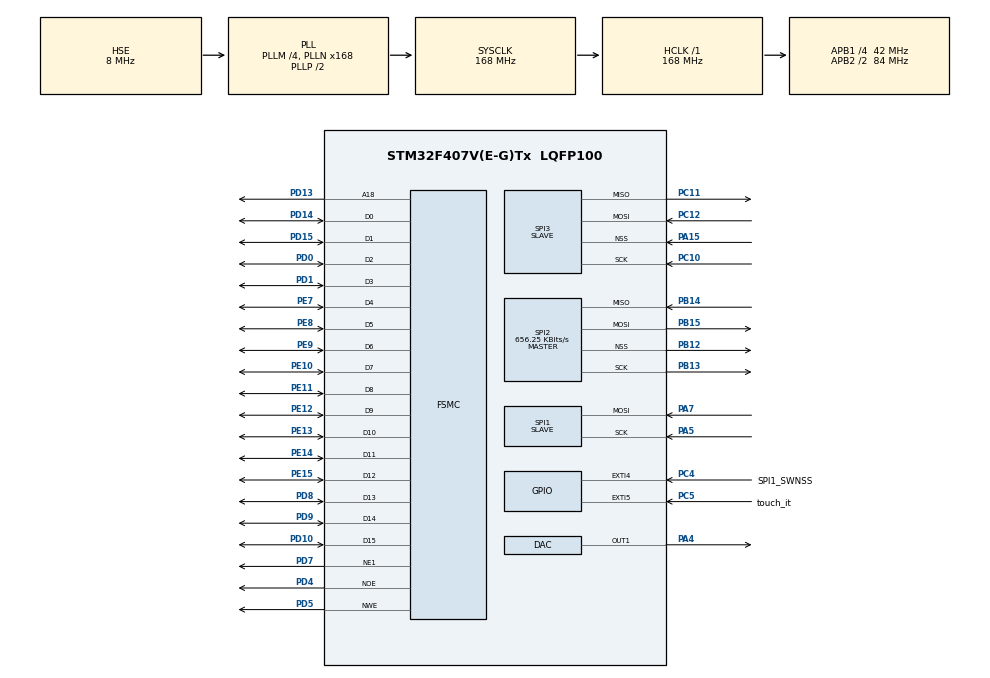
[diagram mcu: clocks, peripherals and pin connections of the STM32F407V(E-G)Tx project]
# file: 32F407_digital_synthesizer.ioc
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DAC.DAC_Trigger=DAC_TRIGGER_T6_TRGO
DAC.WaveGeneration=DISABLE
Dma.DAC1.0.Direction=DMA_MEMORY_TO_PERIPH
Dma.DAC1.0.FIFOMode=DMA_FIFOMODE_DISABLE
Dma.DAC1.0.Instance=DMA1_Stream5
Dma.DAC1.0.MemDataAlignment=DMA_MDATAALIGN_HALFWORD
Dma.DAC1.0.MemInc=DMA_MINC_ENABLE
Dma.DAC1.0.Mode=DMA_CIRCULAR
Dma.DAC1.0.PeriphDataAlignment=DMA_PDATAALIGN_HALFWORD
Dma.DAC1.0.PeriphInc=DMA_PINC_DISABLE
Dma.DAC1.0.Priority=DMA_PRIORITY_HIGH
Dma.MEMTOMEM.2.Direction=DMA_MEMORY_TO_MEMORY
Dma.MEMTOMEM.2.FIFOMode=DMA_FIFOMODE_ENABLE
Dma.MEMTOMEM.2.FIFOThreshold=DMA_FIFO_THRESHOLD_FULL
Dma.MEMTOMEM.2.Instance=DMA2_Stream0
Dma.MEMTOMEM.2.MemBurst=DMA_MBURST_SINGLE
Dma.MEMTOMEM.2.MemDataAlignment=DMA_MDATAALIGN_BYTE
Dma.MEMTOMEM.2.MemInc=DMA_MINC_DISABLE
Dma.MEMTOMEM.2.Mode=DMA_NORMAL
Dma.MEMTOMEM.2.PeriphBurst=DMA_PBURST_SINGLE
Dma.MEMTOMEM.2.PeriphDataAlignment=DMA_PDATAALIGN_BYTE
Dma.MEMTOMEM.2.PeriphInc=DMA_PINC_ENABLE
Dma.MEMTOMEM.2.Priority=DMA_PRIORITY_MEDIUM
Dma.Request0=DAC1
Dma.Request1=SPI3_RX
Dma.Request2=MEMTOMEM
Dma.Request3=SPI1_RX
Dma.SPI1_RX.3.Direction=DMA_PERIPH_TO_MEMORY
Dma.SPI1_RX.3.FIFOMode=DMA_FIFOMODE_DISABLE
Dma.SPI1_RX.3.Instance=DMA2_Stream2
Dma.SPI1_RX.3.MemDataAlignment=DMA_MDATAALIGN_BYTE
Dma.SPI1_RX.3.MemInc=DMA_MINC_ENABLE
Dma.SPI1_RX.3.Mode=DMA_NORMAL
Dma.SPI1_RX.3.PeriphDataAlignment=DMA_PDATAALIGN_BYTE
Dma.SPI1_RX.3.PeriphInc=DMA_PINC_DISABLE
Dma.SPI1_RX.3.Priority=DMA_PRIORITY_LOW
Dma.SPI3_RX.1.Direction=DMA_PERIPH_TO_MEMORY
Dma.SPI3_RX.1.FIFOMode=DMA_FIFOMODE_DISABLE
Dma.SPI3_RX.1.Instance=DMA1_Stream0
Dma.SPI3_RX.1.MemDataAlignment=DMA_MDATAALIGN_BYTE
Dma.SPI3_RX.1.MemInc=DMA_MINC_ENABLE
Dma.SPI3_RX.1.Mode=DMA_NORMAL
Dma.SPI3_RX.1.PeriphDataAlignment=DMA_PDATAALIGN_BYTE
Dma.SPI3_RX.1.PeriphInc=DMA_PINC_DISABLE
Dma.SPI3_RX.1.Priority=DMA_PRIORITY_LOW
FSMC.AddressSetupTime1=6
FSMC.BusTurnAroundDuration1=0
FSMC.DataSetupTime1=6
Mcu.Family=STM32F4
Mcu.Name=STM32F407V(E-G)Tx
Mcu.Package=LQFP100
NVIC.DMA1_Stream0_IRQn=true\:0\:0\:false\:false\:true\:false\:true\:true
NVIC.DMA1_Stream5_IRQn=true\:0\:0\:false\:false\:true\:false\:true\:true
NVIC.DMA2_Stream2_IRQn=true\:0\:0\:false\:false\:true\:false\:true\:true
NVIC.EXTI4_IRQn=true\:0\:0\:false\:false\:true\:true\:true\:true
NVIC.EXTI9_5_IRQn=true\:0\:0\:false\:false\:true\:true\:true\:true
NVIC.PriorityGroup=NVIC_PRIORITYGROUP_4
NVIC.SPI1_IRQn=true\:0\:0\:false\:false\:true\:true\:true\:true
NVIC.SPI2_IRQn=true\:0\:0\:false\:false\:true\:true\:true\:true
NVIC.SPI3_IRQn=true\:0\:0\:false\:false\:true\:true\:true\:true
PA15.Mode=NSS_Signal_Hard_Input
PA15.Signal=SPI3_NSS
PA4.Signal=COMP_DAC1_group
PA5.Mode=RX_Only_Simplex_Unidirect_Slave
PA5.Signal=SPI1_SCK
PA7.Mode=RX_Only_Simplex_Unidirect_Slave
PA7.Signal=SPI1_MOSI
PB12.Mode=NSS_Signal_Hard_Output
PB12.Signal=SPI2_NSS
PB13.Mode=Full_Duplex_Master
PB13.Signal=SPI2_SCK
PB14.Mode=Full_Duplex_Master
PB14.Signal=SPI2_MISO
PB15.Mode=Full_Duplex_Master
PB15.Signal=SPI2_MOSI
PC10.Mode=Full_Duplex_Slave
PC10.Signal=SPI3_SCK
PC11.Mode=Full_Duplex_Slave
PC11.Signal=SPI3_MISO
PC12.Mode=Full_Duplex_Slave
PC12.Signal=SPI3_MOSI
PC4.GPIO_Label=SPI1_SWNSS
PC4.GPIO_ModeDefaultEXTI=GPIO_MODE_IT_FALLING
PC4.GPIO_PuPd=GPIO_PULLUP
PC4.Signal=GPXTI4
PC5.GPIO_Label=touch_it
PC5.GPIO_ModeDefaultEXTI=GPIO_MODE_IT_FALLING
PC5.GPIO_PuPd=GPIO_PULLUP
PC5.Signal=GPXTI5
PD0.Mode=16b-d1
PD0.Signal=FSMC_D2
PD1.Mode=16b-d1
PD1.Signal=FSMC_D3
PD10.Mode=16b-d1
PD10.Signal=FSMC_D15
PD13.Mode=A18_1
PD13.Signal=FSMC_A18
PD14.Mode=16b-d1
PD14.Signal=FSMC_D0
PD15.Mode=16b-d1
PD15.Signal=FSMC_D1
PD4.Mode=Lcd1
PD4.Signal=FSMC_NOE
PD5.Mode=Lcd1
PD5.Signal=FSMC_NWE
PD7.Mode=NorPsramChipSelect1_1
PD7.Signal=FSMC_NE1
PD8.Mode=16b-d1
PD8.Signal=FSMC_D13
PD9.Mode=16b-d1
PD9.Signal=FSMC_D14
PE10.Mode=16b-d1
PE10.Signal=FSMC_D7
PE11.Mode=16b-d1
PE11.Signal=FSMC_D8
PE12.Mode=16b-d1
PE12.Signal=FSMC_D9
PE13.Mode=16b-d1
PE13.Signal=FSMC_D10
PE14.Mode=16b-d1
PE14.Signal=FSMC_D11
PE15.Mode=16b-d1
PE15.Signal=FSMC_D12
PE7.Mode=16b-d1
PE7.Signal=FSMC_D4
PE8.Mode=16b-d1
PE8.Signal=FSMC_D5
PE9.Mode=16b-d1
PE9.Signal=FSMC_D6
PH0-OSC_IN.Mode=HSE-External-Oscillator
PH0-OSC_IN.Signal=RCC_OSC_IN
PH1-OSC_OUT.Mode=HSE-External-Oscillator
PH1-OSC_OUT.Signal=RCC_OSC_OUT
ProjectManager.HeapSize=0x200
ProjectManager.StackSize=0x400
ProjectManager.TargetToolchain=STM32CubeIDE
RCC.48MHZClocksFreq_Value=48000000
RCC.AHBFreq_Value=168000000
RCC.APB1CLKDivider=RCC_HCLK_DIV4
RCC.APB1Freq_Value=42000000
RCC.APB1TimFreq_Value=84000000
RCC.APB2CLKDivider=RCC_HCLK_DIV2
RCC.APB2Freq_Value=84000000
RCC.APB2TimFreq_Value=168000000
RCC.CortexFreq_Value=168000000
RCC.HCLKFreq_Value=168000000
RCC.HSE_VALUE=8000000
RCC.HSI_VALUE=16000000
RCC.LSE_VALUE=32768
RCC.PLLM=4
RCC.PLLN=168
RCC.PLLQ=7
RCC.PLLSourceVirtual=RCC_PLLSOURCE_HSE
RCC.SYSCLKFreq_VALUE=168000000
RCC.SYSCLKSource=RCC_SYSCLKSOURCE_PLLCLK
RCC.VCOOutputFreq_Value=336000000
SH.COMP_DAC1_group.0=DAC_OUT1,DAC_OUT1
SPI1.Direction=SPI_DIRECTION_2LINES_RXONLY
SPI1.Mode=SPI_MODE_SLAVE
SPI1.VirtualType=VM_SLAVE
SPI2.BaudRatePrescaler=SPI_BAUDRATEPRESCALER_64
SPI2.CLKPhase=SPI_PHASE_1EDGE
SPI2.CLKPolarity=SPI_POLARITY_LOW
SPI2.CalculateBaudRate=656.25 KBits/s
SPI2.DataSize=SPI_DATASIZE_8BIT
SPI2.Direction=SPI_DIRECTION_2LINES
SPI2.Mode=SPI_MODE_MASTER
SPI2.TIMode=SPI_TIMODE_DISABLE
SPI2.VirtualNSS=VM_NSSHARD
SPI2.VirtualType=VM_MASTER
SPI3.Direction=SPI_DIRECTION_2LINES
SPI3.Mode=SPI_MODE_SLAVE
SPI3.VirtualNSS=VM_NSSHARD
SPI3.VirtualType=VM_SLAVE
STMicroelectronics.X-CUBE-ALGOBUILD.1.3.0.LibraryCcDSPOoLibraryJjDSPOoLibrary=true
TIM6.AutoReloadPreload=TIM_AUTORELOAD_PRELOAD_ENABLE
TIM6.Period=20
TIM6.Prescaler=100
TIM6.TIM_MasterOutputTrigger=TIM_TRGO_UPDATE
VP_RNG_VS_RNG.Mode=RNG_Activate
VP_STMicroelectronics.X-CUBE-ALGOBUILD_VS_DSPOoLibraryJjLibrary_1.3.0_1.3.0.Mode=DSPOoLibraryJjLibrary
VP_TIM6_VS_ClockSourceINT.Mode=Enable_Timer
board=custom

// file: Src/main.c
/* USER CODE BEGIN Header */
/**
 ******************************************************************************
 * @file           : main.c
 * @brief          : Main program body
 ******************************************************************************
 * @attention
 *
 * <h2><center>&copy; Copyright (c) 2019 STMicroelectronics.
 * All rights reserved.</center></h2>
 *
 * This software component is licensed by ST under BSD 3-Clause license,
 * the "License"; You may not use this file except in compliance with the
 * License. You may obtain a copy of the License at:
 *                        opensource.org/licenses/BSD-3-Clause
 *
 ******************************************************************************
 */
/* USER CODE END Header */
#include "main.h"

/* USER CODE BEGIN Includes */
#define ARM_MATH_CM4
#include "arm_math.h"

#include <elementary_wave.h>
#include <synthesizer_parameters.h>

#include <FSMC_ILI9341.h>
#include <bitmap.h>
#include <touch_2046.h>
#include <stm32uikit.h>

#include <otakuro_logo.h>
/* USER CODE END Includes */

/* USER CODE BEGIN PTD */
typedef union {
	uint16_t raw;
	struct {
		unsigned int low :8;
		unsigned int high :8;
	} split;
} transmit16;
/* USER CODE END PTD */

/* USER CODE BEGIN PD */
#define XPT2046_MIN_RAW_X 230
#define XPT2046_MAX_RAW_X 3900
#define XPT2046_MIN_RAW_Y 290
#define XPT2046_MAX_RAW_Y 3870

#define COLOR_BACKGROUND 0x00
/* USER CODE END PD */

DAC_HandleTypeDef hdac;
DMA_HandleTypeDef hdma_dac1;

RNG_HandleTypeDef hrng;

SPI_HandleTypeDef hspi1;
SPI_HandleTypeDef hspi2;
SPI_HandleTypeDef hspi3;
DMA_HandleTypeDef hdma_spi1_rx;
DMA_HandleTypeDef hdma_spi3_rx;

TIM_HandleTypeDef htim6;

DMA_HandleTypeDef hdma_memtomem_dma2_stream0;
SRAM_HandleTypeDef hsram1;

/* USER CODE BEGIN PV */
//uint8_t spi_controler_tx[4] = {0};
uint8_t frameBuffer[ILI9341_PIXEL_COUNT] = {0};

uint8_t spi_controler_rx[4];
uint16_t control_value[SIZE_PARAMATER] = { 0 };
uint8_t spiRecieving = 1;

uint8_t touch_it = 0;
/* USER CODE END PV */

void SystemClock_Config(void);
static void MX_GPIO_Init(void);
static void MX_DMA_Init(void);
static void MX_FSMC_Init(void);
static void MX_DAC_Init(void);
static void MX_SPI2_Init(void);
static void MX_SPI3_Init(void);
static void MX_TIM6_Init(void);
static void MX_SPI1_Init(void);
static void MX_RNG_Init(void);

/* USER CODE BEGIN 0 */
void HAL_GPIO_EXTI_Callback(uint16_t GPIO_Pin) {
	if((spiRecieving == 0) && (GPIO_PIN_4 == GPIO_Pin)){
		HAL_SPI_Receive_DMA(&hspi1, spi_controler_rx, 4);
		spiRecieving = 1;
	}
}

void HAL_SPI_RxCpltCallback(SPI_HandleTypeDef *hspi) {
	if(hspi == &hspi1){
		transmit16 data;
		data.split.low = spi_controler_rx[0];
		data.split.high = spi_controler_rx[1];
		uint16_t parameter = data.raw;

		if((parameter >= 0) && (parameter < SIZE_PARAMATER)){
			data.split.low = spi_controler_rx[2];
			data.split.high = spi_controler_rx[3];
			control_value[parameter] = data.raw;
		}

		spiRecieving = 0;
		MX_SPI1_Init();
	}else if(hspi == &hspi3){
		transmit16 data;
		data.split.low = spi_controler_rx[0];
		data.split.high = spi_controler_rx[1];
		uint16_t parameter = data.raw;

		if((parameter >= 0) && (parameter < SIZE_PARAMATER)){
			data.split.low = spi_controler_rx[2];
			data.split.high = spi_controler_rx[3];
			control_value[parameter] = data.raw;
		}

		HAL_SPI_Receive_DMA(&hspi3, spi_controler_rx, 4);
	}
}
/* USER CODE END 0 */

int main(void)
{

  /* MCU Configuration--------------------------------------------------------*/

  /* Reset of all peripherals, Initializes the Flash interface and the Systick. */
  HAL_Init();

  /* Configure the system clock */
  SystemClock_Config();

  /* Initialize all configured peripherals */
  MX_GPIO_Init();
  MX_DMA_Init();
  MX_FSMC_Init();
  MX_DAC_Init();
  MX_SPI2_Init();
  MX_SPI3_Init();
  MX_TIM6_Init();
  MX_SPI1_Init();
  MX_RNG_Init();
  /* USER CODE BEGIN 2 */

  // Touch init
/*
  Coordinate_t touch_s3uikit;
  Touch_calib_t touch_cal;
	touch_cal.minX = XPT2046_MIN_RAW_X;
	touch_cal.minY = XPT2046_MIN_RAW_Y;
	touch_cal.maxX = XPT2046_MAX_RAW_X;
	touch_cal.maxY = XPT2046_MAX_RAW_Y;
	*/

    // LCD init
  	ILI9341_init();
  	ILI9341_setRotation(1);

  	//----------bitmap init
	char string[30];
	bitmap_setparam(ILI9341_WIDTH, ILI9341_HEIGHT, COLOR_BACKGROUND, frameBuffer);
	bitmap_clear();

	//color test
	/*
	for (uint16_t i = 0; i < 256; i++) {
		bitmap_fillrect(15 * (i % 16), ((uint16_t) (i / 16) * 15), 15 * (i % 16) + 14, ((uint16_t) (i / 16) * 15) + 14, i);
	}
	ILI9341_printBitmap(frameBuffer);
	bitmap_clear();
	HAL_Delay(2000);
	*/

	//otakuro animation
	for (uint8_t i = 0; i < 13; i++) {
		bitmap_clear();
		bitmap_animation_4bit(&OTAKURO[i][0][0], OTAKURO_color_map, 72, 100, 48, 64);
		ILI9341_printBitmap(frameBuffer);
		HAL_Delay(100);
	}
	bitmap_stringBitmap(40, 180, "STM32F407 Synthesizer", 1, 1, 0xff);
	bitmap_stringBitmap(165, 310, "V20230205", 1, 1, 0xff);
	ILI9341_printBitmap(frameBuffer);
	HAL_Delay(2000);

	uint8_t color_behavior[] = {0x0b, 0x58, 0xf8, 0xe4, 0xff};
	uint8_t color_signal[] = {0xde, 0x9f, 0xef, 0xfd};

  /* USER CODE END 2 */

  /* Infinite loop */
  /* USER CODE BEGIN WHILE */
	//input spi
	HAL_SPI_Receive_DMA(&hspi3, spi_controler_rx, 4);
	spiRecieving = 0; //start spi1 read
	uint8_t displaySplitIndex = 0; //Split screen display index

	//start timer and DAC
	uint16_t audio_dac[SYNTH_NUM_SAMPLING] = { 0 };
	HAL_TIM_GenerateEvent(&htim6, TIM_EVENTSOURCE_UPDATE);
	HAL_TIM_Base_Start(&htim6);
	HAL_DAC_Start_DMA(&hdac, DAC_CHANNEL_1, (uint32_t*) audio_dac, SYNTH_NUM_SAMPLING, DAC_ALIGN_12B_R);

	//parameter setting
	set_synth_para(audio_dac, control_value);
	uint8_t synth_process_status = 1;

	//init value(for test)
	/*
	control_value[S1_ENABLE] = 1;
	control_value[S1_FREQ] = 17664; //440Hz
	control_value[S1_SIN] = 100;
	control_value[S1_SQU] = 0;
	control_value[S1_TRI] = 0;
	control_value[S1_SAW] = 0;
	//*/
	//control_value[S1_SIN] = 400;

	//default value
	control_value[M_VOLUME] = 50;
	control_value[SYNC_WAVFORM] = 1;
	control_value[LPF_CUTOFF] = 34579; //20kHz
	control_value[LPF_Q] = 80;
	control_value[PITCH] = 256;
	control_value[VIB_AMP] = 0x0100;
	control_value[TRE_AMP] = 400;

	control_value[S1_ENABLE] = 0;
	control_value[S2_ENABLE] = 0;
	control_value[S3_ENABLE] = 0;
	control_value[S4_ENABLE] = 0;
	control_value[S5_ENABLE] = 0;
	control_value[S6_ENABLE] = 0;
	control_value[S7_ENABLE] = 0;
	control_value[S8_ENABLE] = 0;
	control_value[S9_ENABLE] = 0;
	control_value[S10_ENABLE] = 0;

	control_value[S1_FREQ] = 72 << 8;
	control_value[S2_FREQ] = 74 << 8;
	control_value[S3_FREQ] = 75 << 8;
	control_value[S4_FREQ] = 76 << 8;
	control_value[S5_FREQ] = 78 << 8;
	control_value[S6_FREQ] = 80 << 8;
	control_value[S7_FREQ] = 82 << 8;
	control_value[S8_FREQ] = 83 << 8;
	control_value[S9_FREQ] = 84 << 8;
	control_value[S10_FREQ] = 86 << 8;

	control_value[EG_ATTACK_TIM] = 100;
	control_value[EG_ATTACK_LEVEL] = 150;
	control_value[EG_DECAY_TIME] = 150;
	control_value[EG_RELEASE_TIME] = 500;

	while (1) {
		//input touch
		/*
		touch_s3uikit = xpt2046_read(&hspi2, touch_cal);
		if(touch_s3uikit.z < 100){
			touch_s3uikit.x = 0;
			touch_s3uikit.y = 0;
			touch_s3uikit.z = 0;
		}

		if ((touch_s3uikit.z > 300)) {
			if (touch_s3uikit.y < 150) {
				control_value[LPF_CUTOFF] = 150 * touch_s3uikit.x;
				control_value[LPF_Q] = 40 + (2 * touch_s3uikit.y / 3);
			} else if (touch_s3uikit.y < 180) {
			} else if (touch_s3uikit.y < 300) {
				control_value[S1_FREQ] = 144 * (239 - touch_s3uikit.x);
				uint16_t amp = ((touch_s3uikit.y - 180) * 2048) / 120;
				control_value[S1_SIN] = amp;
			} else if (touch_s3uikit.y < ILI9341_HEIGHT) {
			}

			touch_it = 0;
		}
		*/

		synth_process_status = synth_process();

		if(synth_process_status == 1) {
			if(displaySplitIndex < ILI9341_SPLIT_NUM){
				ILI9341_printBitmap_split(frameBuffer, displaySplitIndex++);
			}else if(displaySplitIndex == ILI9341_SPLIT_NUM){
				//set frame buffer
				bitmap_clear();

				uint16_t dis_y_adsr = 20;
				uint16_t dis_x_adsr = 30;
				uint16_t dis_x1, dis_x2, dis_y1, dis_y2;

				bitmap_stringBitmap(5, dis_y_adsr - 10, "ADSR", 1, 1, 0xff);
				bitmap_line(20, dis_y_adsr + 100, 220, dis_y_adsr + 100, 0xda); //0 line
				bitmap_stringBitmap(188, dis_y_adsr + 103, "[ms]", 1, 1, 0xda);

				dis_x1 = dis_x_adsr + (20 * ((control_value[EG_ATTACK_TIM] > 1000)?(1000):(control_value[EG_ATTACK_TIM])) / 1000);
				dis_y1 = dis_y_adsr + 100 - (uint16_t)(50 * control_value[EG_ATTACK_LEVEL] / 100);
				bitmap_line(dis_x_adsr, dis_y_adsr + 100, dis_x1, dis_y1, 0x1f); //A line
				sprintf(string, "%4d", control_value[EG_ATTACK_TIM]);
				bitmap_stringBitmap(dis_x_adsr, dis_y_adsr + 103, string, 0, 0, 0x1f);
				sprintf(string, "%d.%02d", (uint8_t) (control_value[EG_ATTACK_LEVEL] / 100), (uint8_t) (control_value[EG_ATTACK_LEVEL] * 100) % 100);
				bitmap_stringBitmap(dis_x1 - 20, dis_y1, string, 0, 0, 0x1f);

				dis_x2 = dis_x1 + (20 * ((control_value[EG_DECAY_TIME] > 1000)?(1000):(control_value[EG_DECAY_TIME])) / 1000);
				dis_y2 = dis_y_adsr + 50;
				bitmap_line(dis_x1, dis_y1, dis_x2, dis_y2, 0x9d); //D line
				sprintf(string, "%4d", control_value[EG_DECAY_TIME]);
				bitmap_stringBitmap(dis_x1, dis_y2 + 2, string, 0, 0, 0x9d);

				dis_x1 = dis_x2 + 20;
				bitmap_line(dis_x2, dis_y2, dis_x1, dis_y2, 0xf4); //S line

				dis_x2 = dis_x1 + (120 * ((control_value[EG_RELEASE_TIME] > 6000)?(6000):(control_value[EG_RELEASE_TIME])) / 6000);
				bitmap_line(dis_x1, dis_y2, dis_x2, dis_y_adsr + 100, 0xfd); //R line
				sprintf(string, "%5d", control_value[EG_RELEASE_TIME]);
				bitmap_stringBitmap(dis_x1, dis_y2 - 10, string, 0, 0, 0xfd);

				//Noise
				if(control_value[N1_ENABLE] > 0){
					bitmap_rect(100, 10, 102, 12, 1, 0xff);
				}
				if(control_value[N2_ENABLE] > 0){
					bitmap_rect(103, 10, 105, 12, 1, 0xff);
				}
				if(control_value[N3_ENABLE] > 0){
					bitmap_rect(106, 10, 107, 12, 1, 0xff);
				}

				displaySplitIndex++;
			}else{
				//display para all
				uint16_t dis_y_freq = 250;
				uint16_t dis_y_amp = 160;
				uint16_t dis_x_freq, dis_x_amp;
				uint16_t dis_width_lfo_vib = 0;
				uint16_t dis_width_lfo_tre = 0;
				uint16_t dis_width_lfo_wow = 0;

				//title
				bitmap_stringBitmap(45, dis_y_amp - 20, "LPF", 1, 1, color_behavior[SYNTH_IND_FIL]);
				bitmap_stringBitmap(85, dis_y_amp - 20, "WOW", 1, 1, color_behavior[SYNTH_IND_WOW]);
				bitmap_stringBitmap(125, dis_y_amp - 20, "VIB", 1, 1, color_behavior[SYNTH_IND_VIB]);
				bitmap_stringBitmap(165, dis_y_amp - 20, "TRE", 1, 1, color_behavior[SYNTH_IND_TRE]);

				//behavior formtype
				uint16_t behavior_formtype = WOW_FORM;
				uint8_t x_formtype = 85 + 8 * 3;
				for(uint8_t i = 0; i < 3; i++){
					switch(control_value[behavior_formtype]){
						case 0:
							bitmap_stringBitmap(x_formtype, dis_y_amp - 20, "~", 1, 1, color_behavior[i]);
							break;
						case 1:
							bitmap_line(x_formtype, dis_y_amp - 20, x_formtype + 4, dis_y_amp - 20, color_behavior[i]);
							bitmap_line(x_formtype + 4, dis_y_amp - 20, x_formtype + 4, dis_y_amp - 13, color_behavior[i]);
							bitmap_line(x_formtype + 4, dis_y_amp - 13, x_formtype + 8, dis_y_amp - 13, color_behavior[i]);
							break;
						case 2:
							bitmap_line(x_formtype, dis_y_amp - 20, x_formtype + 7, dis_y_amp - 13, color_behavior[i]);
							break;
						case 3:
							bitmap_line(x_formtype, dis_y_amp - 13, x_formtype + 7, dis_y_amp - 20, color_behavior[i]);
							break;
						default:
							break;
					}
					behavior_formtype += 3;
					x_formtype += 40;
				}

				//amp. axis
				bitmap_stringBitmap(5, dis_y_amp - 10, "AMP.", 1, 1, 0xff);
				bitmap_stringBitmap(45, dis_y_amp - 10, "SIN", 1, 1, color_signal[SYNTH_SIG_SIN]);
				bitmap_stringBitmap(85, dis_y_amp - 10, "SQU", 1, 1, color_signal[SYNTH_SIG_SQU]);
				bitmap_stringBitmap(125, dis_y_amp - 10, "SAW", 1, 1, color_signal[SYNTH_SIG_SAW1]);
				bitmap_stringBitmap(165, dis_y_amp - 10, "TRI", 1, 1, color_signal[SYNTH_SIG_TRI]);

				//freq. axis
				bitmap_stringBitmap(5, dis_y_freq - 10, "FREQ.", 1, 1, 0xff);
				sprintf(string, "[Q:%2d.%02d]", (uint8_t)(control_value[LPF_Q] / 100), (uint8_t) (control_value[LPF_Q]) % 100);
				bitmap_stringBitmap(140, dis_y_freq - 10, string, 1, 1, color_behavior[SYNTH_IND_FIL]);

				bitmap_line(30, dis_y_freq, 30, dis_y_freq + 60, 0xda); //0.1Hz
				bitmap_line(64, dis_y_freq, 64, dis_y_freq + 60, 0xda); //1Hz
				bitmap_line(98, dis_y_freq, 98, dis_y_freq + 60, 0xda); //10Hz
				bitmap_line(132, dis_y_freq, 132, dis_y_freq + 60, 0xda); //100Hz
				bitmap_line(166, dis_y_freq, 166, dis_y_freq + 60, 0xda); //1000Hz
				bitmap_line(200, dis_y_freq, 200, dis_y_freq + 60, 0xda); //10000Hz
				bitmap_stringBitmap(30, dis_y_freq + 62, "0.1", 0, 0, 0xda);
				bitmap_stringBitmap(64, dis_y_freq + 62, "1", 0, 0, 0xda);
				bitmap_stringBitmap(98, dis_y_freq + 62, "10", 0, 0, 0xda);
				bitmap_stringBitmap(132, dis_y_freq + 62, "100", 0, 0, 0xda);
				bitmap_stringBitmap(166, dis_y_freq + 62, "1k", 0, 0, 0xda);
				bitmap_stringBitmap(200, dis_y_freq + 62, "10k", 0, 0, 0xda);
				//bitmap_line(210, dis_y_freq, 210, dis_y_freq + 60, 0xda); //20000Hz

				float32_t axis_tmp;

				//vib
				dis_width_lfo_vib = (180.0f * control_value[VIB_AMP]) / 34579.0f;

				axis_tmp = 12.0f * log2f((20.0f * (float32_t)control_value[VIB_LFO] / 65535.0f) / 440.0f) + 69 + 76.2394537;
				axis_tmp = 30.0f + 180.0f * axis_tmp / 211.0f;
				dis_x_freq = (axis_tmp < 20) ? (20) : (uint16_t)(axis_tmp);
				if (20 < dis_x_freq) {
					bitmap_line(dis_x_freq, dis_y_freq, dis_x_freq, dis_y_freq + 60, color_behavior[SYNTH_IND_VIB]);
				}else{
					bitmap_line(dis_x_freq, dis_y_freq, dis_x_freq, dis_y_freq + 20, color_behavior[SYNTH_IND_VIB]);
				}

				//tre
				dis_width_lfo_tre = 20.0f + (200.0f * control_value[TRE_AMP]) / 34579.0f;
				bitmap_line(dis_width_lfo_tre, dis_y_amp, dis_width_lfo_tre, dis_y_amp + 60, color_behavior[SYNTH_IND_TRE]);

				axis_tmp = 12 * log2f((20.0f * (float32_t)control_value[TRE_LFO] / 65535.0f) / 440.0f) + 69.0f + 76.2394537f;
				axis_tmp = 30 + 180 * axis_tmp / 211;
				dis_x_freq = (axis_tmp < 20) ? (20) : (uint16_t)(axis_tmp);
				if (20 < dis_x_freq) {
					bitmap_line(dis_x_freq, dis_y_freq, dis_x_freq, dis_y_freq + 60, color_behavior[SYNTH_IND_TRE]);
				}else{
					bitmap_line(dis_x_freq, dis_y_freq + 21, dis_x_freq, dis_y_freq + 40, color_behavior[SYNTH_IND_TRE]);
				}

				//wow
				//filter
				axis_tmp = (control_value[LPF_CUTOFF] / 256.0f) + 76.2394537;
				axis_tmp = 30 + 180 * axis_tmp / 211;
				dis_x_freq = (axis_tmp < 20) ? (20) : (uint16_t)(axis_tmp);
				dis_width_lfo_wow = (180 * control_value[WOW_AMP]) / 34579;

				bitmap_line(dis_x_freq, dis_y_freq, dis_x_freq, dis_y_freq + 60, color_behavior[SYNTH_IND_FIL]);
				bitmap_line(dis_x_freq - dis_width_lfo_wow, dis_y_freq, dis_x_freq - dis_width_lfo_wow, dis_y_freq + 60, color_behavior[SYNTH_IND_FIL]);
				bitmap_line(dis_x_freq + dis_width_lfo_wow, dis_y_freq, dis_x_freq + dis_width_lfo_wow, dis_y_freq + 60, color_behavior[SYNTH_IND_FIL]);

				axis_tmp = 12.0f * log2f((20.0f * (float32_t)control_value[WOW_LFO] / 65535.0f) / 440.0f) + 69.0f + 76.2394537f;
				axis_tmp = 30.0f + 180.0f * axis_tmp / 211.0f;
				dis_x_freq = (axis_tmp < 20) ? (20) : (uint16_t)(axis_tmp);
				if (20 < dis_x_freq) {
					bitmap_line(dis_x_freq, dis_y_freq, dis_x_freq, dis_y_freq + 60, color_behavior[SYNTH_IND_WOW]);
				}else{
					bitmap_line(dis_x_freq, dis_y_freq + 41, dis_x_freq, dis_y_freq + 60, color_behavior[SYNTH_IND_WOW]);
				}

				//signal
				for(uint8_t chord = 0; chord < 10; chord++){
					if(control_value[S1_ENABLE + (6 * chord)]){
						bitmap_fillrect(14, dis_y_freq, 15, dis_y_freq + 4, color_behavior[SYNTH_IND_SIG]);
						bitmap_fillrect(14, dis_y_amp, 15, dis_y_amp + 4, color_behavior[SYNTH_IND_SIG]);
					}

					sprintf(string, "%2d", chord + 1);

					//freq
					bitmap_stringBitmap(5, dis_y_freq, string, 0, 0, 0xff);

					axis_tmp = (control_value[S1_FREQ + (6 * chord)] / 256.0f) + 76.2394537f;
					axis_tmp = 30 + 180 * axis_tmp / 211;
					dis_x_freq = (axis_tmp < 20) ? (20) : (uint16_t)(axis_tmp);
					bitmap_line(20, dis_y_freq + 2, 220, dis_y_freq + 2, 0xda);
					bitmap_line(dis_x_freq - dis_width_lfo_vib, dis_y_freq + 2, dis_x_freq + dis_width_lfo_vib, dis_y_freq + 2, color_behavior[SYNTH_IND_VIB]);
					bitmap_rect(dis_x_freq - 1, dis_y_freq + 1, dis_x_freq + 1, dis_y_freq + 3, 1, color_behavior[SYNTH_IND_SIG]);

					dis_y_freq += 6;

					//amp
					bitmap_stringBitmap(5, dis_y_amp, string, 0, 0, 0xff);
					bitmap_line(20, dis_y_amp + 2, 220, dis_y_amp + 2, 0xda);
					uint16_t sig_num_view;

					sig_num_view = (control_value[SYNC_WAVFORM] == 0)?(S1_SIN + (6 * chord)):(S1_SIN);
					if(control_value[sig_num_view] > 0){
						dis_x_amp = 20 + 200 * control_value[sig_num_view] / 512;
						if(dis_x_amp > 220){
							dis_x_amp = 220;
						}
						bitmap_rect(dis_x_amp - 1, dis_y_amp + 1, dis_x_amp + 1, dis_y_amp + 3, 1, color_signal[SYNTH_SIG_SIN]);
					}
					sig_num_view = (control_value[SYNC_WAVFORM] == 0)?(S1_SQU + (6 * chord)):(S1_SQU);
					if(control_value[sig_num_view] > 0){
						dis_x_amp = 20 + 200 * control_value[sig_num_view] / 512;
						if(dis_x_amp > 220){
							dis_x_amp = 220;
						}
						bitmap_rect(dis_x_amp - 1, dis_y_amp + 1, dis_x_amp + 1, dis_y_amp + 3, 1, color_signal[SYNTH_SIG_SQU]);
					}
					sig_num_view = (control_value[SYNC_WAVFORM] == 0)?(S1_SAW + (6 * chord)):(S1_SAW);
					if(control_value[sig_num_view] > 0){
						dis_x_amp = 20 + 200 * control_value[sig_num_view] / 512;
						if(dis_x_amp > 220){
							dis_x_amp = 220;
						}
						bitmap_rect(dis_x_amp - 1, dis_y_amp + 1, dis_x_amp + 1, dis_y_amp + 3, 1, color_signal[SYNTH_SIG_SAW1]);
					}
					sig_num_view = (control_value[SYNC_WAVFORM] == 0)?(S1_TRI + (6 * chord)):(S1_TRI);
					if(control_value[sig_num_view] > 0){
						dis_x_amp = 20 + 200 * control_value[sig_num_view] / 512;
						if(dis_x_amp > 220){
							dis_x_amp = 220;
						}
						bitmap_rect(dis_x_amp - 1, dis_y_amp + 1, dis_x_amp + 1, dis_y_amp + 3, 1, color_signal[SYNTH_SIG_TRI]);
					}

					dis_y_amp += 6;
				}

				displaySplitIndex = 0;
			}
		}
    /* USER CODE END WHILE */

	}
}

void SystemClock_Config(void)
{
  RCC_OscInitTypeDef RCC_OscInitStruct = {0};
  RCC_ClkInitTypeDef RCC_ClkInitStruct = {0};

  /** Configure the main internal regulator output voltage
  */
  __HAL_RCC_PWR_CLK_ENABLE();
  __HAL_PWR_VOLTAGESCALING_CONFIG(PWR_REGULATOR_VOLTAGE_SCALE1);

  /** Initializes the RCC Oscillators according to the specified parameters
  * in the RCC_OscInitTypeDef structure.
  */
  RCC_OscInitStruct.OscillatorType = RCC_OSCILLATORTYPE_HSE;
  RCC_OscInitStruct.HSEState = RCC_HSE_ON;
  RCC_OscInitStruct.PLL.PLLState = RCC_PLL_ON;
  RCC_OscInitStruct.PLL.PLLSource = RCC_PLLSOURCE_HSE;
  RCC_OscInitStruct.PLL.PLLM = 4;
  RCC_OscInitStruct.PLL.PLLN = 168;
  RCC_OscInitStruct.PLL.PLLP = RCC_PLLP_DIV2;
  RCC_OscInitStruct.PLL.PLLQ = 7;
  if (HAL_RCC_OscConfig(&RCC_OscInitStruct) != HAL_OK)
  {
    Error_Handler();
  }

  /** Initializes the CPU, AHB and APB buses clocks
  */
  RCC_ClkInitStruct.ClockType = RCC_CLOCKTYPE_HCLK|RCC_CLOCKTYPE_SYSCLK
                              |RCC_CLOCKTYPE_PCLK1|RCC_CLOCKTYPE_PCLK2;
  RCC_ClkInitStruct.SYSCLKSource = RCC_SYSCLKSOURCE_PLLCLK;
  RCC_ClkInitStruct.AHBCLKDivider = RCC_SYSCLK_DIV1;
  RCC_ClkInitStruct.APB1CLKDivider = RCC_HCLK_DIV4;
  RCC_ClkInitStruct.APB2CLKDivider = RCC_HCLK_DIV2;

  if (HAL_RCC_ClockConfig(&RCC_ClkInitStruct, FLASH_LATENCY_5) != HAL_OK)
  {
    Error_Handler();
  }
}

static void MX_DAC_Init(void)
{

  DAC_ChannelConfTypeDef sConfig = {0};

  /** DAC Initialization
  */
  hdac.Instance = DAC;
  if (HAL_DAC_Init(&hdac) != HAL_OK)
  {
    Error_Handler();
  }

  /** DAC channel OUT1 config
  */
  sConfig.DAC_Trigger = DAC_TRIGGER_T6_TRGO;
  sConfig.DAC_OutputBuffer = DAC_OUTPUTBUFFER_ENABLE;
  if (HAL_DAC_ConfigChannel(&hdac, &sConfig, DAC_CHANNEL_1) != HAL_OK)
  {
    Error_Handler();
  }

}

static void MX_RNG_Init(void)
{

  hrng.Instance = RNG;
  if (HAL_RNG_Init(&hrng) != HAL_OK)
  {
    Error_Handler();
  }

}

static void MX_SPI1_Init(void)
{

  /* SPI1 parameter configuration*/
  hspi1.Instance = SPI1;
  hspi1.Init.Mode = SPI_MODE_SLAVE;
  hspi1.Init.Direction = SPI_DIRECTION_2LINES_RXONLY;
  hspi1.Init.DataSize = SPI_DATASIZE_8BIT;
  hspi1.Init.CLKPolarity = SPI_POLARITY_LOW;
  hspi1.Init.CLKPhase = SPI_PHASE_1EDGE;
  hspi1.Init.NSS = SPI_NSS_SOFT;
  hspi1.Init.FirstBit = SPI_FIRSTBIT_MSB;
  hspi1.Init.TIMode = SPI_TIMODE_DISABLE;
  hspi1.Init.CRCCalculation = SPI_CRCCALCULATION_DISABLE;
  hspi1.Init.CRCPolynomial = 10;
  if (HAL_SPI_Init(&hspi1) != HAL_OK)
  {
    Error_Handler();
  }

}

static void MX_SPI2_Init(void)
{

  /* SPI2 parameter configuration*/
  hspi2.Instance = SPI2;
  hspi2.Init.Mode = SPI_MODE_MASTER;
  hspi2.Init.Direction = SPI_DIRECTION_2LINES;
  hspi2.Init.DataSize = SPI_DATASIZE_8BIT;
  hspi2.Init.CLKPolarity = SPI_POLARITY_LOW;
  hspi2.Init.CLKPhase = SPI_PHASE_1EDGE;
  hspi2.Init.NSS = SPI_NSS_HARD_OUTPUT;
  hspi2.Init.BaudRatePrescaler = SPI_BAUDRATEPRESCALER_64;
  hspi2.Init.FirstBit = SPI_FIRSTBIT_MSB;
  hspi2.Init.TIMode = SPI_TIMODE_DISABLE;
  hspi2.Init.CRCCalculation = SPI_CRCCALCULATION_DISABLE;
  hspi2.Init.CRCPolynomial = 10;
  if (HAL_SPI_Init(&hspi2) != HAL_OK)
  {
    Error_Handler();
  }

}

static void MX_SPI3_Init(void)
{

  /* SPI3 parameter configuration*/
  hspi3.Instance = SPI3;
  hspi3.Init.Mode = SPI_MODE_SLAVE;
  hspi3.Init.Direction = SPI_DIRECTION_2LINES;
  hspi3.Init.DataSize = SPI_DATASIZE_8BIT;
  hspi3.Init.CLKPolarity = SPI_POLARITY_LOW;
  hspi3.Init.CLKPhase = SPI_PHASE_1EDGE;
  hspi3.Init.NSS = SPI_NSS_HARD_INPUT;
  hspi3.Init.FirstBit = SPI_FIRSTBIT_MSB;
  hspi3.Init.TIMode = SPI_TIMODE_DISABLE;
  hspi3.Init.CRCCalculation = SPI_CRCCALCULATION_DISABLE;
  hspi3.Init.CRCPolynomial = 10;
  if (HAL_SPI_Init(&hspi3) != HAL_OK)
  {
    Error_Handler();
  }

}

static void MX_TIM6_Init(void)
{

  TIM_MasterConfigTypeDef sMasterConfig = {0};

  htim6.Instance = TIM6;
  htim6.Init.Prescaler = 100;
  htim6.Init.CounterMode = TIM_COUNTERMODE_UP;
  htim6.Init.Period = 20;
  htim6.Init.AutoReloadPreload = TIM_AUTORELOAD_PRELOAD_ENABLE;
  if (HAL_TIM_Base_Init(&htim6) != HAL_OK)
  {
    Error_Handler();
  }
  sMasterConfig.MasterOutputTrigger = TIM_TRGO_UPDATE;
  sMasterConfig.MasterSlaveMode = TIM_MASTERSLAVEMODE_DISABLE;
  if (HAL_TIMEx_MasterConfigSynchronization(&htim6, &sMasterConfig) != HAL_OK)
  {
    Error_Handler();
  }

}

static void MX_DMA_Init(void)
{

  /* DMA controller clock enable */
  __HAL_RCC_DMA1_CLK_ENABLE();
  __HAL_RCC_DMA2_CLK_ENABLE();

  /* Configure DMA request hdma_memtomem_dma2_stream0 on DMA2_Stream0 */
  hdma_memtomem_dma2_stream0.Instance = DMA2_Stream0;
  hdma_memtomem_dma2_stream0.Init.Channel = DMA_CHANNEL_0;
  hdma_memtomem_dma2_stream0.Init.Direction = DMA_MEMORY_TO_MEMORY;
  hdma_memtomem_dma2_stream0.Init.PeriphInc = DMA_PINC_ENABLE;
  hdma_memtomem_dma2_stream0.Init.MemInc = DMA_MINC_DISABLE;
  hdma_memtomem_dma2_stream0.Init.PeriphDataAlignment = DMA_PDATAALIGN_BYTE;
  hdma_memtomem_dma2_stream0.Init.MemDataAlignment = DMA_MDATAALIGN_BYTE;
  hdma_memtomem_dma2_stream0.Init.Mode = DMA_NORMAL;
  hdma_memtomem_dma2_stream0.Init.Priority = DMA_PRIORITY_MEDIUM;
  hdma_memtomem_dma2_stream0.Init.FIFOMode = DMA_FIFOMODE_ENABLE;
  hdma_memtomem_dma2_stream0.Init.FIFOThreshold = DMA_FIFO_THRESHOLD_FULL;
  hdma_memtomem_dma2_stream0.Init.MemBurst = DMA_MBURST_SINGLE;
  hdma_memtomem_dma2_stream0.Init.PeriphBurst = DMA_PBURST_SINGLE;
  if (HAL_DMA_Init(&hdma_memtomem_dma2_stream0) != HAL_OK)
  {
    Error_Handler( );
  }

  /* DMA interrupt init */
  /* DMA1_Stream0_IRQn interrupt configuration */
  HAL_NVIC_SetPriority(DMA1_Stream0_IRQn, 0, 0);
  HAL_NVIC_EnableIRQ(DMA1_Stream0_IRQn);
  /* DMA1_Stream5_IRQn interrupt configuration */
  HAL_NVIC_SetPriority(DMA1_Stream5_IRQn, 0, 0);
  HAL_NVIC_EnableIRQ(DMA1_Stream5_IRQn);
  /* DMA2_Stream2_IRQn interrupt configuration */
  HAL_NVIC_SetPriority(DMA2_Stream2_IRQn, 0, 0);
  HAL_NVIC_EnableIRQ(DMA2_Stream2_IRQn);

}

static void MX_GPIO_Init(void)
{
  GPIO_InitTypeDef GPIO_InitStruct = {0};

  /* GPIO Ports Clock Enable */
  __HAL_RCC_GPIOH_CLK_ENABLE();
  __HAL_RCC_GPIOA_CLK_ENABLE();
  __HAL_RCC_GPIOC_CLK_ENABLE();
  __HAL_RCC_GPIOE_CLK_ENABLE();
  __HAL_RCC_GPIOB_CLK_ENABLE();
  __HAL_RCC_GPIOD_CLK_ENABLE();

  /*Configure GPIO pins : SPI1_SWNSS_Pin touch_it_Pin */
  GPIO_InitStruct.Pin = SPI1_SWNSS_Pin|touch_it_Pin;
  GPIO_InitStruct.Mode = GPIO_MODE_IT_FALLING;
  GPIO_InitStruct.Pull = GPIO_PULLUP;
  HAL_GPIO_Init(GPIOC, &GPIO_InitStruct);

  /* EXTI interrupt init*/
  HAL_NVIC_SetPriority(EXTI4_IRQn, 0, 0);
  HAL_NVIC_EnableIRQ(EXTI4_IRQn);

  HAL_NVIC_SetPriority(EXTI9_5_IRQn, 0, 0);
  HAL_NVIC_EnableIRQ(EXTI9_5_IRQn);

}

/* FSMC initialization function */
static void MX_FSMC_Init(void)
{

  FSMC_NORSRAM_TimingTypeDef Timing = {0};

  /** Perform the SRAM1 memory initialization sequence
  */
  hsram1.Instance = FSMC_NORSRAM_DEVICE;
  hsram1.Extended = FSMC_NORSRAM_EXTENDED_DEVICE;
  /* hsram1.Init */
  hsram1.Init.NSBank = FSMC_NORSRAM_BANK1;
  hsram1.Init.DataAddressMux = FSMC_DATA_ADDRESS_MUX_DISABLE;
  hsram1.Init.MemoryType = FSMC_MEMORY_TYPE_SRAM;
  hsram1.Init.MemoryDataWidth = FSMC_NORSRAM_MEM_BUS_WIDTH_16;
  hsram1.Init.BurstAccessMode = FSMC_BURST_ACCESS_MODE_DISABLE;
  hsram1.Init.WaitSignalPolarity = FSMC_WAIT_SIGNAL_POLARITY_LOW;
  hsram1.Init.WrapMode = FSMC_WRAP_MODE_DISABLE;
  hsram1.Init.WaitSignalActive = FSMC_WAIT_TIMING_BEFORE_WS;
  hsram1.Init.WriteOperation = FSMC_WRITE_OPERATION_ENABLE;
  hsram1.Init.WaitSignal = FSMC_WAIT_SIGNAL_DISABLE;
  hsram1.Init.ExtendedMode = FSMC_EXTENDED_MODE_DISABLE;
  hsram1.Init.AsynchronousWait = FSMC_ASYNCHRONOUS_WAIT_DISABLE;
  hsram1.Init.WriteBurst = FSMC_WRITE_BURST_DISABLE;
  hsram1.Init.PageSize = FSMC_PAGE_SIZE_NONE;
  /* Timing */
  Timing.AddressSetupTime = 6;
  Timing.AddressHoldTime = 15;
  Timing.DataSetupTime = 6;
  Timing.BusTurnAroundDuration = 0;
  Timing.CLKDivision = 16;
  Timing.DataLatency = 17;
  Timing.AccessMode = FSMC_ACCESS_MODE_A;
  /* ExtTiming */

  if (HAL_SRAM_Init(&hsram1, &Timing, NULL) != HAL_OK)
  {
    Error_Handler( );
  }

  /* USER CODE BEGIN FSMC_Init 2 */
	Timing.AddressHoldTime = 0;
	Timing.CLKDivision = 0;
	Timing.DataLatency = 0;

  /* USER CODE END FSMC_Init 2 */
}

void Error_Handler(void)
{
}
